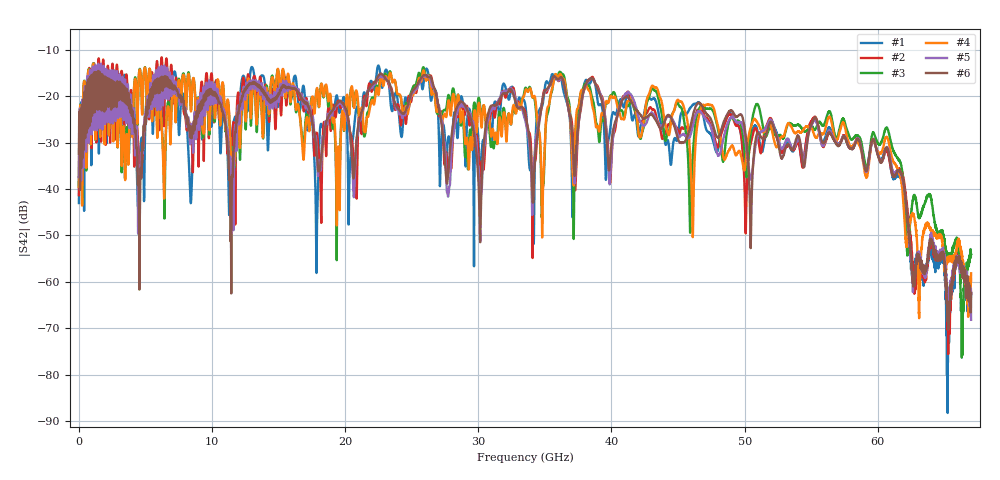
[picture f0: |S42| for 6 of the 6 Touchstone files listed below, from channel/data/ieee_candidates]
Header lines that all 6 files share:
!Agilent Technologies,N5247A,US51170199,A.09.90.13
!Agilent N5247A: A.09.90.13
!Correction: S11(Full 4 Port(1,2,3,4))
!S12(Full 4 Port(1,2,3,4))
!S13(Full 4 Port(1,2,3,4))
!S14(Full 4 Port(1,2,3,4))
!S21(Full 4 Port(1,2,3,4))
!S22(Full 4 Port(1,2,3,4))
!S23(Full 4 Port(1,2,3,4))
!S24(Full 4 Port(1,2,3,4))
!S31(Full 4 Port(1,2,3,4))
!S32(Full 4 Port(1,2,3,4))
!S33(Full 4 Port(1,2,3,4))
!S34(Full 4 Port(1,2,3,4))
!S41(Full 4 Port(1,2,3,4))
!S42(Full 4 Port(1,2,3,4))
!S43(Full 4 Port(1,2,3,4))
!S44(Full 4 Port(1,2,3,4))
!S4P File: Measurements: <S11,S12,S13,S14>,
!<S21,S22,S23,S24>,
!<S31,S32,S33,S34>,
!<S41,S42,S43,S44>:
# Hz S  dB  R 50
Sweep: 10 MHz to 67 GHz
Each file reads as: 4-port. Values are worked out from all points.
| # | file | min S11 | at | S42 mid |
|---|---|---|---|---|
| 1 | Bch1_3p5_f1.s4p | -40.5 dB | 34.85 GHz | -21.5 dB at 33.51 GHz |
| 2 | Bch2_7_f1.s4p | -27.9 dB | 31.65 GHz | -23.2 dB at 33.51 GHz |
| 3 | Bch2_7_f3.s4p | -59.8 dB | 25.91 GHz | -18.4 dB at 33.51 GHz |
| 4 | Bch2_7_f4.s4p | -53.5 dB | 23.17 GHz | -19.1 dB at 33.51 GHz |
| 5 | Bch3_14_f1.s4p | -36.5 dB | 31.67 GHz | -24.9 dB at 33.51 GHz |
| 6 | Bch4_30_f1.s4p | -45.4 dB | 31.69 GHz | -24.0 dB at 33.51 GHz |
